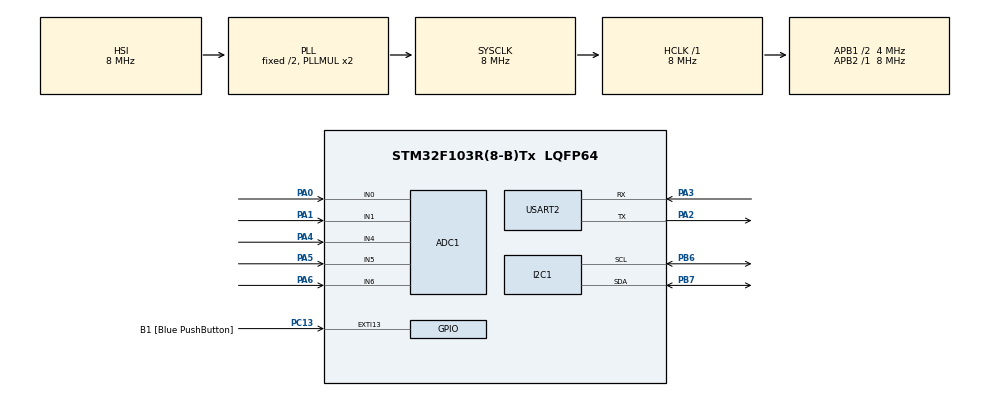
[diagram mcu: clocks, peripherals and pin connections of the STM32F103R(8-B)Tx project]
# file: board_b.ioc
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ADC1.Channel-0\#ChannelRegularConversion=ADC_CHANNEL_0
ADC1.Channel-5\#ChannelRegularConversion=ADC_CHANNEL_1
ADC1.Channel-6\#ChannelRegularConversion=ADC_CHANNEL_4
ADC1.Channel-7\#ChannelRegularConversion=ADC_CHANNEL_5
ADC1.Channel-8\#ChannelRegularConversion=ADC_CHANNEL_6
ADC1.ContinuousConvMode=ENABLE
ADC1.NbrOfConversion=5
ADC1.NbrOfConversionFlag=1
ADC1.Rank-0\#ChannelRegularConversion=1
ADC1.Rank-5\#ChannelRegularConversion=2
ADC1.Rank-6\#ChannelRegularConversion=3
ADC1.Rank-7\#ChannelRegularConversion=4
ADC1.Rank-8\#ChannelRegularConversion=5
ADC1.SamplingTime-0\#ChannelRegularConversion=ADC_SAMPLETIME_239CYCLES_5
ADC1.SamplingTime-5\#ChannelRegularConversion=ADC_SAMPLETIME_239CYCLES_5
ADC1.SamplingTime-6\#ChannelRegularConversion=ADC_SAMPLETIME_239CYCLES_5
ADC1.SamplingTime-7\#ChannelRegularConversion=ADC_SAMPLETIME_239CYCLES_5
ADC1.SamplingTime-8\#ChannelRegularConversion=ADC_SAMPLETIME_239CYCLES_5
ADC1.master=1
Dma.ADC1.0.Direction=DMA_PERIPH_TO_MEMORY
Dma.ADC1.0.Instance=DMA1_Channel1
Dma.ADC1.0.MemDataAlignment=DMA_MDATAALIGN_HALFWORD
Dma.ADC1.0.MemInc=DMA_MINC_ENABLE
Dma.ADC1.0.Mode=DMA_CIRCULAR
Dma.ADC1.0.PeriphDataAlignment=DMA_PDATAALIGN_HALFWORD
Dma.ADC1.0.PeriphInc=DMA_PINC_DISABLE
Dma.ADC1.0.Priority=DMA_PRIORITY_LOW
Dma.Request0=ADC1
Mcu.Family=STM32F1
Mcu.Name=STM32F103R(8-B)Tx
Mcu.Package=LQFP64
NVIC.DMA1_Channel1_IRQn=true\:0\:0\:false\:false\:true\:false\:true\:true
NVIC.EXTI15_10_IRQn=true\:0\:0\:false\:false\:true\:true\:true\:true
NVIC.PriorityGroup=NVIC_PRIORITYGROUP_4
PA0-WKUP.Signal=ADCx_IN0
PA1.Signal=ADCx_IN1
PA13.GPIO_Label=TMS
PA13.Mode=Serial_Wire
PA13.Signal=SYS_JTMS-SWDIO
PA14.GPIO_Label=TCK
PA14.Mode=Serial_Wire
PA14.Signal=SYS_JTCK-SWCLK
PA2.GPIO_Mode=GPIO_MODE_AF_PP
PA2.GPIO_PuPd=GPIO_NOPULL
PA2.GPIO_Speed=GPIO_SPEED_FREQ_HIGH
PA2.Mode=Asynchronous
PA2.Signal=USART2_TX
PA3.Mode=Asynchronous
PA3.Signal=USART2_RX
PA4.Signal=ADCx_IN4
PA5.Signal=ADCx_IN5
PA6.Signal=ADCx_IN6
PB3.GPIO_Label=SWO
PB3.Signal=SYS_JTDO-TRACESWO
PB6.Mode=I2C
PB6.Signal=I2C1_SCL
PB7.Mode=I2C
PB7.Signal=I2C1_SDA
PC13-TAMPER-RTC.GPIO_Label=B1 [Blue PushButton]
PC13-TAMPER-RTC.GPIO_PuPd=GPIO_NOPULL
PC13-TAMPER-RTC.Signal=GPXTI13
PC14-OSC32_IN.Mode=LSE-External-Oscillator
PC14-OSC32_IN.Signal=RCC_OSC32_IN
PC15-OSC32_OUT.Mode=LSE-External-Oscillator
PC15-OSC32_OUT.Signal=RCC_OSC32_OUT
PD0-OSC_IN.Mode=HSE-External-Clock-Source
PD0-OSC_IN.Signal=RCC_OSC_IN
PD1-OSC_OUT.Mode=HSE-External-Clock-Source
PD1-OSC_OUT.Signal=RCC_OSC_OUT
ProjectManager.HeapSize=0x200
ProjectManager.StackSize=0x400
ProjectManager.TargetToolchain=STM32CubeIDE
RCC.AHBFreq_Value=8000000
RCC.APB1CLKDivider=RCC_HCLK_DIV2
RCC.APB1Freq_Value=4000000
RCC.APB1TimFreq_Value=8000000
RCC.APB2Freq_Value=8000000
RCC.APB2TimFreq_Value=8000000
RCC.HCLKFreq_Value=8000000
RCC.RTCClockSelection=RCC_RTCCLKSOURCE_LSE
RCC.SYSCLKFreq_VALUE=8000000
RCC.SYSCLKSource=RCC_SYSCLKSOURCE_PLLCLK
RCC.USBFreq_Value=8000000
SH.ADCx_IN0.0=ADC1_IN0,IN0
SH.ADCx_IN1.0=ADC1_IN1,IN1
SH.ADCx_IN4.0=ADC1_IN4,IN4
SH.ADCx_IN5.0=ADC1_IN5,IN5
SH.ADCx_IN6.0=ADC1_IN6,IN6
USART2.VirtualMode=VM_ASYNC
board=NUCLEO-F103RB

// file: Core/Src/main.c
/* USER CODE BEGIN Header */
/**
  ******************************************************************************
  * @file           : main.c
  * @brief          : Flex Sensor 5EA + MPU6050 (6DOF Filter for stable Roll/Pitch)
  ******************************************************************************
  */
/* USER CODE END Header */
#include "main.h"

/* USER CODE BEGIN Includes */
#include <stdio.h>
#include <math.h> // MPU6050 6축 기울기 계산을 위해 추가
/* USER CODE END Includes */

/* USER CODE BEGIN PTD */

// MPU6050 데이터 구조체
typedef struct {
    int16_t Accel_X_RAW;
    int16_t Accel_Y_RAW;
    int16_t Accel_Z_RAW;
    float   Ax;
    float   Ay;
    float   Az;
    // --- [추가] 자이로스코프 데이터
    int16_t Gyro_X_RAW;
    int16_t Gyro_Y_RAW;
    int16_t Gyro_Z_RAW;
    float   Gx;        // 각속도 (deg/s)
    float   Gy;
    float   Gz;
    // --- [수정] 필터링된 각도 (Roll, Pitch)
    float   roll;
    float   pitch;
    float   yaw;       // 자이로 적분 (드리프트 발생 가능)
} MPU6050_t;

/* USER CODE END PTD */

/* USER CODE BEGIN PD */

#define SAMPLE_HZ   100
#define WIN_SEC     2
#define WIN_LEN     (SAMPLE_HZ * WIN_SEC)   // 200

// [프레임][채널]
float flex_win[WIN_LEN][5]; // ADC값 or 각도값
float imu_win[WIN_LEN][6];  // ax,ay,az,gx,gy,gz

uint16_t win_idx = 0;
uint8_t  capturing = 0;      // 0: 대기, 1: 2초 수집 중

float a_mag = 0.0f;
uint8_t trigger_on = 0;

// MPU6050 레지스터 주소/레지스터
#define MPU6050_ADDR        0xD0      // (0x68 << 1)
#define SMPLRT_DIV_REG      0x19
#define GYRO_CONFIG_REG     0x1B
#define ACCEL_CONFIG_REG    0x1C
#define ACCEL_XOUT_H_REG    0x3B
#define GYRO_XOUT_H_REG     0x43      // 자이로 데이터 레지스터 시작
#define PWR_MGMT_1_REG      0x6B
#define WHO_AM_I_REG        0x75

// ★ 6축 필터링을 위한 상수 (MPU6050 설정: ±2g, ±250 deg/s)
#define ACCEL_SCALE_FACTOR  16384.0f  // 2g 범위 (16bit)
#define GYRO_SCALE_FACTOR   131.0f    // 250 deg/s 범위 (16bit)
#define DT_SEC              0.15f     // 메인 루프 딜레이 시간 (150ms)
#define COMPLEMENTARY_ALPHA 0.98f     // 상보 필터 가중치 (자이로스코프 신뢰도)

/* Flex Sensor Constants */
const float VCC  = 3.3f;
const float R_DIV = 47500.0f;              // 47.5k 저항
const float STRAIGHT_RESISTANCE = 21650.0f; // 펼침
const float BEND_RESISTANCE     = 752000.0f; // 90도 굽힘

/* USER CODE END PD */

ADC_HandleTypeDef hadc1;
DMA_HandleTypeDef hdma_adc1;

I2C_HandleTypeDef hi2c1;

UART_HandleTypeDef huart2;

/* USER CODE BEGIN PV */

// --- 제스처 윈도우 설정 ---
#define SAMPLE_HZ   100          // 100 Hz
#define WIN_SEC     2            // 2초
#define WIN_LEN     (SAMPLE_HZ * WIN_SEC)   // 200 프레임

// flex 5개, IMU(일단 accel 3축만) 윈도우 버퍼
float flex_win[WIN_LEN][5];      // [프레임][손가락]
float imu_win[WIN_LEN][3];       // [프레임][Ax, Ay, Az]

// 윈도우 상태
uint16_t win_idx   = 0;          // 현재 채운 프레임 수
uint8_t  capturing = 0;          // 0: 대기, 1: 2초 수집 중

// 트리거용
float a_mag = 0.0f;
const float A_TRIG_ON  = 1.20f;  // 시작 임계값 (1.2 g 정도 예시)
const float A_TRIG_OFF = 1.05f;  // 끝난 후 다시 안정되는 기준(필요하면 사용)

// === Flex Sensor 설정 ===
uint16_t adcBuf[5];   // DMA 버퍼 (센서 5개)

// === MPU6050 변수 ===
MPU6050_t MPU6050;
uint8_t   mpu_ready = 0;   // 센서 준비 여부 플래그

/* USER CODE END PV */

void SystemClock_Config(void);
static void MX_GPIO_Init(void);
static void MX_DMA_Init(void);
static void MX_USART2_UART_Init(void);
static void MX_ADC1_Init(void);
static void MX_I2C1_Init(void);
/* USER CODE BEGIN PFP */
// Flex Functions
float   Flex_CalcAngle(float flexR);
float   Flex_GetAngle_FromADC(uint16_t raw);
uint8_t is90(float angle);

// MPU6050 Functions
void              MPU6050_Init(void);
HAL_StatusTypeDef MPU6050_Read_6DOF_Data(void); // 6축 데이터 읽기 및 필터링
/* USER CODE END PFP */

/* USER CODE BEGIN 0 */

// printf 출력을 위한 _write 함수 재정의
int _write(int file, char *data, int len)
{
    HAL_UART_Transmit(&huart2, (uint8_t*)data, (uint16_t)len, HAL_MAX_DELAY);
    return len;
}

/* USER CODE END 0 */

int main(void)
{

  /* MCU Configuration--------------------------------------------------------*/

  /* Reset of all peripherals, Initializes the Flash interface and the Systick. */
  HAL_Init();

  /* Configure the system clock */
  SystemClock_Config();

  /* Initialize all configured peripherals */
  MX_GPIO_Init();
  MX_DMA_Init();
  MX_USART2_UART_Init();
  MX_ADC1_Init();
  MX_I2C1_Init();
  /* USER CODE BEGIN 2 */
  printf("\r\n--- System Starting (Flex x5 + MPU6050 6DOF Filter) ---\r\n");

  // MPU6050 초기화
  MPU6050_Init();
  if (mpu_ready)
      printf("MPU6050 Ready.\r\n");
  else
      printf("MPU6050 NOT Ready. (Check wiring/address)\r\n");

  // ADC DMA 시작 : 버퍼 크기 5개
  if (HAL_ADC_Start_DMA(&hadc1, (uint32_t*)adcBuf, 5) != HAL_OK)
  {
      printf("ADC DMA Start Error!\r\n");
      Error_Handler();
  }

  /* USER CODE END 2 */

  /* Infinite loop */
  /* USER CODE BEGIN WHILE */
  uint8_t printCounter = 0;
  uint8_t shakeCount   = 0;

  // 초기 가속도/각도 값 설정
  MPU6050.Ax = 0.0f;
  MPU6050.Ay = 0.0f;
  MPU6050.Az = 1.0f;
  MPU6050.roll = 0.0f;
  MPU6050.pitch = 0.0f;
  MPU6050.yaw = 0.0f;

  while (1)
  {
	  while (1)
	  {
	      // 1) 항상 최신 flex / IMU 읽기
	      //  - flex: adcBuf[] → 각도 or raw 그대로
	      //  - IMU: MPU6050_Read_Accel() + (추가로 gyro도 읽으면 gx,gy,gz까지)

	      // flex 각도 계산
	      float angle[5];
	      for (int i = 0; i < 5; i++)
	          angle[i] = Flex_GetAngle_FromADC(adcBuf[i]);

	      // IMU 읽기
	      if (mpu_ready)
	      {
	          MPU6050_Read_Accel();   // 여기에 자이로까지 읽는 함수로 확장해야 함
	      }

	      // 2) a의 magnitude 계산해서 트리거
	      a_mag = sqrtf(MPU6050.Ax*MPU6050.Ax +
	                    MPU6050.Ay*MPU6050.Ay +
	                    MPU6050.Az*MPU6050.Az);

	      if (!capturing)
	      {
	          // 아직 제스처 대기 상태
	          if (a_mag > A_THRESH)   // 예: 1.2g 같은 임계값
	          {
	              capturing = 1;
	              win_idx   = 0;
	          }
	      }

	      if (capturing)
	      {
	          // 3) 현재 샘플을 윈도우 버퍼에 저장
	          if (win_idx < WIN_LEN)
	          {
	              for (int i = 0; i < 5; i++)
	                  flex_win[win_idx][i] = angle[i];   // 또는 adcBuf[i] 그대로

	              imu_win[win_idx][0] = MPU6050.Ax;
	              imu_win[win_idx][1] = MPU6050.Ay;
	              imu_win[win_idx][2] = MPU6050.Az;
	              // gyro 추가되면 3개 더

	              win_idx++;
	          }

	          if (win_idx >= WIN_LEN)
	          {
	              // 4) 2초(200프레임) 다 채워짐
	              capturing = 0;

	              // 여기서:
	              //  - CSV로 한 번 쫙 찍어서 PC에 저장 (학습용)
	              //  - 나중에는 여기서 185차원 feature 계산 + 분류 호출
	          }
	      }

	      HAL_Delay(10); // 100Hz
	  }
    /* USER CODE END WHILE */

  }
}

void SystemClock_Config(void)
{
  RCC_OscInitTypeDef RCC_OscInitStruct = {0};
  RCC_ClkInitTypeDef RCC_ClkInitStruct = {0};
  RCC_PeriphCLKInitTypeDef PeriphClkInit = {0};

  /** Initializes the RCC Oscillators according to the specified parameters
  * in the RCC_OscInitTypeDef structure.
  */
  RCC_OscInitStruct.OscillatorType = RCC_OSCILLATORTYPE_HSI;
  RCC_OscInitStruct.HSIState = RCC_HSI_ON;
  RCC_OscInitStruct.HSICalibrationValue = RCC_HSICALIBRATION_DEFAULT;
  RCC_OscInitStruct.PLL.PLLState = RCC_PLL_ON;
  RCC_OscInitStruct.PLL.PLLSource = RCC_PLLSOURCE_HSI_DIV2;
  RCC_OscInitStruct.PLL.PLLMUL = RCC_PLL_MUL2;
  if (HAL_RCC_OscConfig(&RCC_OscInitStruct) != HAL_OK)
  {
    Error_Handler();
  }

  /** Initializes the CPU, AHB and APB buses clocks
  */
  RCC_ClkInitStruct.ClockType = RCC_CLOCKTYPE_HCLK|RCC_CLOCKTYPE_SYSCLK
                              |RCC_CLOCKTYPE_PCLK1|RCC_CLOCKTYPE_PCLK2;
  RCC_ClkInitStruct.SYSCLKSource = RCC_SYSCLKSOURCE_PLLCLK;
  RCC_ClkInitStruct.AHBCLKDivider = RCC_SYSCLK_DIV1;
  RCC_ClkInitStruct.APB1CLKDivider = RCC_HCLK_DIV2;
  RCC_ClkInitStruct.APB2CLKDivider = RCC_HCLK_DIV1;

  if (HAL_RCC_ClockConfig(&RCC_ClkInitStruct, FLASH_LATENCY_0) != HAL_OK)
  {
    Error_Handler();
  }
  PeriphClkInit.PeriphClockSelection = RCC_PERIPHCLK_ADC;
  PeriphClkInit.AdcClockSelection = RCC_ADCPCLK2_DIV2;
  if (HAL_RCCEx_PeriphCLKConfig(&PeriphClkInit) != HAL_OK)
  {
    Error_Handler();
  }
}

static void MX_ADC1_Init(void)
{

  ADC_ChannelConfTypeDef sConfig = {0};

  /** Common config
  */
  hadc1.Instance = ADC1;
  hadc1.Init.ScanConvMode = ADC_SCAN_ENABLE;
  hadc1.Init.ContinuousConvMode = ENABLE;
  hadc1.Init.DiscontinuousConvMode = DISABLE;
  hadc1.Init.ExternalTrigConv = ADC_SOFTWARE_START;
  hadc1.Init.DataAlign = ADC_DATAALIGN_RIGHT;
  hadc1.Init.NbrOfConversion = 5;
  if (HAL_ADC_Init(&hadc1) != HAL_OK)
  {
    Error_Handler();
  }

  /** Configure Regular Channel
  */
  sConfig.Channel = ADC_CHANNEL_0;
  sConfig.Rank = ADC_REGULAR_RANK_1;
  sConfig.SamplingTime = ADC_SAMPLETIME_239CYCLES_5;
  if (HAL_ADC_ConfigChannel(&hadc1, &sConfig) != HAL_OK)
  {
    Error_Handler();
  }

  /** Configure Regular Channel
  */
  sConfig.Channel = ADC_CHANNEL_1;
  sConfig.Rank = ADC_REGULAR_RANK_2;
  if (HAL_ADC_ConfigChannel(&hadc1, &sConfig) != HAL_OK)
  {
    Error_Handler();
  }

  /** Configure Regular Channel
  */
  sConfig.Channel = ADC_CHANNEL_4;
  sConfig.Rank = ADC_REGULAR_RANK_3;
  if (HAL_ADC_ConfigChannel(&hadc1, &sConfig) != HAL_OK)
  {
    Error_Handler();
  }

  /** Configure Regular Channel
  */
  sConfig.Channel = ADC_CHANNEL_5;
  sConfig.Rank = ADC_REGULAR_RANK_4;
  if (HAL_ADC_ConfigChannel(&hadc1, &sConfig) != HAL_OK)
  {
    Error_Handler();
  }

  /** Configure Regular Channel
  */
  sConfig.Channel = ADC_CHANNEL_6;
  sConfig.Rank = ADC_REGULAR_RANK_5;
  if (HAL_ADC_ConfigChannel(&hadc1, &sConfig) != HAL_OK)
  {
    Error_Handler();
  }

}

static void MX_I2C1_Init(void)
{

  hi2c1.Instance = I2C1;
  hi2c1.Init.ClockSpeed = 100000;
  hi2c1.Init.DutyCycle = I2C_DUTYCYCLE_2;
  hi2c1.Init.OwnAddress1 = 0;
  hi2c1.Init.AddressingMode = I2C_ADDRESSINGMODE_7BIT;
  hi2c1.Init.DualAddressMode = I2C_DUALADDRESS_DISABLE;
  hi2c1.Init.OwnAddress2 = 0;
  hi2c1.Init.GeneralCallMode = I2C_GENERALCALL_DISABLE;
  hi2c1.Init.NoStretchMode = I2C_NOSTRETCH_DISABLE;
  if (HAL_I2C_Init(&hi2c1) != HAL_OK)
  {
    Error_Handler();
  }

}

static void MX_USART2_UART_Init(void)
{

  huart2.Instance = USART2;
  huart2.Init.BaudRate = 115200;
  huart2.Init.WordLength = UART_WORDLENGTH_8B;
  huart2.Init.StopBits = UART_STOPBITS_1;
  huart2.Init.Parity = UART_PARITY_NONE;
  huart2.Init.Mode = UART_MODE_TX_RX;
  huart2.Init.HwFlowCtl = UART_HWCONTROL_NONE;
  huart2.Init.OverSampling = UART_OVERSAMPLING_16;
  if (HAL_UART_Init(&huart2) != HAL_OK)
  {
    Error_Handler();
  }

}

static void MX_DMA_Init(void)
{

  /* DMA controller clock enable */
  __HAL_RCC_DMA1_CLK_ENABLE();

  /* DMA interrupt init */
  /* DMA1_Channel1_IRQn interrupt configuration */
  HAL_NVIC_SetPriority(DMA1_Channel1_IRQn, 0, 0);
  HAL_NVIC_EnableIRQ(DMA1_Channel1_IRQn);

}

static void MX_GPIO_Init(void)
{
  GPIO_InitTypeDef GPIO_InitStruct = {0};

  /* GPIO Ports Clock Enable */
  __HAL_RCC_GPIOC_CLK_ENABLE();
  __HAL_RCC_GPIOD_CLK_ENABLE();
  __HAL_RCC_GPIOA_CLK_ENABLE();
  __HAL_RCC_GPIOB_CLK_ENABLE();

  /*Configure GPIO pin : B1_Pin */
  GPIO_InitStruct.Pin = B1_Pin;
  GPIO_InitStruct.Mode = GPIO_MODE_IT_RISING;
  GPIO_InitStruct.Pull = GPIO_NOPULL;
  HAL_GPIO_Init(B1_GPIO_Port, &GPIO_InitStruct);

  /* EXTI interrupt init*/
  HAL_NVIC_SetPriority(EXTI15_10_IRQn, 0, 0);
  HAL_NVIC_EnableIRQ(EXTI15_10_IRQn);

}

/* USER CODE BEGIN 4 */

// 200프레임짜리 윈도우를 CSV 포맷으로 UART2로 쏘기
void DumpWindowAsCSV(void)
{
    // 구분자 (Python에서 BEGIN_WINDOW ~ END_WINDOW 사이를 한 샘플로 저장)
    printf("BEGIN_WINDOW\r\n");
    // 헤더 (원하면 안 써도 되지만 있으면 편함)
    printf("frame,flex0,flex1,flex2,flex3,flex4,Ax,Ay,Az\r\n");

    for (uint16_t i = 0; i < WIN_LEN; i++)
    {
        printf("%u", i); // frame index
        for (int j = 0; j < 5; j++)
        {
            printf(",%.3f", flex_win[i][j]);   // 각도(도) 값
        }
        printf(",%.4f,%.4f,%.4f\r\n",
               imu_win[i][0], imu_win[i][1], imu_win[i][2]); // Ax, Ay, Az
    }

    printf("END_WINDOW\r\n");
}

// --- Flex Sensor Logic ---
float Flex_CalcAngle(float flexR)
{
    float angle = (flexR - STRAIGHT_RESISTANCE) * 90.0f /
                  (BEND_RESISTANCE - STRAIGHT_RESISTANCE);
    if (angle < 0.0f)  angle = 0.0f;
    if (angle > 90.0f) angle = 90.0f;
    return angle;
}

uint8_t is90(float angle)
{
    // 70도 이상 굽힘으로 판단
    return (angle > 70.0f);
}

float Flex_GetAngle_FromADC(uint16_t raw)
{
    float flexV = (float)raw * VCC / 4095.0f;
    float flexR = R_DIV * (VCC / flexV - 1.0f);
    return Flex_CalcAngle(flexR);
}

// --- MPU6050 Logic ---
void MPU6050_Init(void)
{
    uint8_t check;
    uint8_t Data;

    // WHO_AM_I 읽어서 I2C 통신 확인
    if (HAL_I2C_Mem_Read(&hi2c1, MPU6050_ADDR, WHO_AM_I_REG,
                         1, &check, 1, 1000) != HAL_OK)
    {
        printf("MPU6050 I2C Error or not connected!\r\n");
        mpu_ready = 0;
        return;
    }

    printf("MPU6050 WHO_AM_I = 0x%02X\r\n", check);

    if (check != 0x68)
    {
        printf("WARNING: Unexpected ID (expect 0x68)\r\n");
    }

    mpu_ready = 1;

    // 1. Sleep 해제 (PWR_MGMT_1)
    Data = 0x00;
    HAL_I2C_Mem_Write(&hi2c1, MPU6050_ADDR, PWR_MGMT_1_REG,
                      1, &Data, 1, 1000);

    // 2. Sample Rate (1kHz / (1 + 7) = 125 Hz)
    Data = 0x07;
    HAL_I2C_Mem_Write(&hi2c1, MPU6050_ADDR, SMPLRT_DIV_REG,
                      1, &Data, 1, 1000);

    // 3. Accelerometer Range ±2g
    Data = 0x00;
    HAL_I2C_Mem_Write(&hi2c1, MPU6050_ADDR, ACCEL_CONFIG_REG,
                      1, &Data, 1, 1000);

    // ★ 4. Gyroscope Range ±250 deg/s
    Data = 0x00;
    HAL_I2C_Mem_Write(&hi2c1, MPU6050_ADDR, GYRO_CONFIG_REG,
                      1, &Data, 1, 1000);
}

HAL_StatusTypeDef MPU6050_Read_6DOF_Data(void)
{
    // 가속도 6 bytes + 온도 2 bytes + 자이로 6 bytes = 총 14 bytes
    uint8_t Rec_Data[14];
    HAL_StatusTypeDef status;
    const float PI = 3.14159265359f;

    // 1. I2C 데이터 읽기 (ACCEL_XOUT_H_REG 부터 14 bytes)
    status = HAL_I2C_Mem_Read(&hi2c1, MPU6050_ADDR, ACCEL_XOUT_H_REG,
                              1, Rec_Data, 14, 1000);

    if (status != HAL_OK) return status;

    // 2. RAW 데이터 추출 및 스케일링
    // Accel (Bytes 0-5)
    MPU6050.Accel_X_RAW = (int16_t)(Rec_Data[0] << 8 | Rec_Data[1]);
    MPU6050.Accel_Y_RAW = (int16_t)(Rec_Data[2] << 8 | Rec_Data[3]);
    MPU6050.Accel_Z_RAW = (int16_t)(Rec_Data[4] << 8 | Rec_Data[5]);

    // Gyro (Bytes 8-13, 온도 2 bytes 건너뜀)
    MPU6050.Gyro_X_RAW  = (int16_t)(Rec_Data[8]  << 8 | Rec_Data[9]);
    MPU6050.Gyro_Y_RAW  = (int16_t)(Rec_Data[10] << 8 | Rec_Data[11]);
    MPU6050.Gyro_Z_RAW  = (int16_t)(Rec_Data[12] << 8 | Rec_Data[13]);

    // 스케일링 (단위: g, deg/s)
    MPU6050.Ax = MPU6050.Accel_X_RAW / ACCEL_SCALE_FACTOR;
    MPU6050.Ay = MPU6050.Accel_Y_RAW / ACCEL_SCALE_FACTOR;
    MPU6050.Az = MPU6050.Accel_Z_RAW / ACCEL_SCALE_FACTOR;
    MPU6050.Gx = MPU6050.Gyro_X_RAW / GYRO_SCALE_FACTOR;
    MPU6050.Gy = MPU6050.Gyro_Y_RAW / GYRO_SCALE_FACTOR;
    MPU6050.Gz = MPU6050.Gyro_Z_RAW / GYRO_SCALE_FACTOR;

    // 3. 가속도계만으로 Roll/Pitch 계산 (절대 기울기)
    float Accel_Roll  = atan2(MPU6050.Ay, MPU6050.Az) * 180.0f / PI;
    float AyAz_Magnitude = sqrt(MPU6050.Ay * MPU6050.Ay + MPU6050.Az * MPU6050.Az);
    float Accel_Pitch = atan2(-MPU6050.Ax, AyAz_Magnitude) * 180.0f / PI;

    // 4. 자이로스코프 적분 (회전 추적)
    float Gyro_Roll  = MPU6050.roll  + MPU6050.Gx * DT_SEC;
    float Gyro_Pitch = MPU6050.pitch + MPU6050.Gy * DT_SEC;

    // 5. 상보 필터(Complementary Filter) 적용
    MPU6050.roll  = COMPLEMENTARY_ALPHA * Gyro_Roll  + (1.0f - COMPLEMENTARY_ALPHA) * Accel_Roll;
    MPU6050.pitch = COMPLEMENTARY_ALPHA * Gyro_Pitch + (1.0f - COMPLEMENTARY_ALPHA) * Accel_Pitch;

    MPU6050.yaw   = MPU6050.yaw + MPU6050.Gz * DT_SEC; // Yaw는 자이로 적분만

    return HAL_OK;
}

/* USER CODE END 4 */

void Error_Handler(void)
{
  __disable_irq();
  while (1)
  {
  }
}
